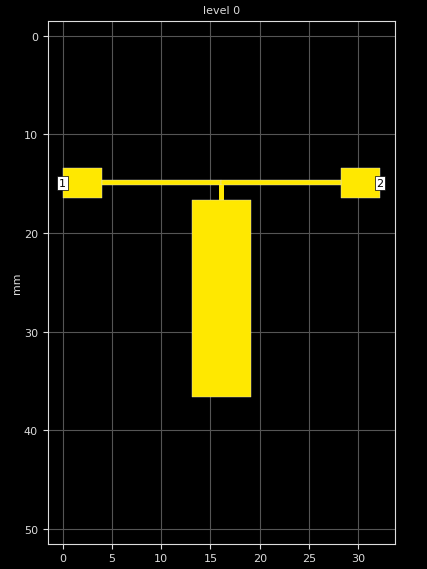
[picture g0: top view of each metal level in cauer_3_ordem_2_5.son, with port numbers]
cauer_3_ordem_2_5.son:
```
FTYP SONPROJ 13 ! Sonnet Project File
VER 15.53.lite
HEADER
LIC SL290709.106431 847bebfebdba DESKTOP-1CMJ3DP Arihe
DAT 05/13/2019 01:29:03
BUILT_BY_CREATED xgeom 15.53-Lite 04/13/2019 20:59:13
BUILT_BY_SAVED xgeom 15.53-Lite
MDATE 05/13/2019 01:24:35
HDATE 05/13/2019 01:24:35
END HEADER
DIM
FREQ GHZ
RSVY OHMM
IND NH
LNG MM
ANG DEG
CON /OH
CAP PF
RES OH
END DIM
FREQ
ABS 1.0e-9 3.0 
END FREQ
CONTROL
ABS
OPTIONS  -dj 
SPEED 0
CACHE_ABS 1
TARG_ABS 300
Q_ACC N
END CONTROL
GEO
DRP1 LEFT LINK
POLY 12 1
1
DRP1 RIGHT LINK
POLY 14 1
0
TMET "Lossless" 0 SUP 0 0 0 0
BMET "Lossless" 0 SUP 0 0 0 0
MET "Copper" 1 NOR 58000000 0 0.0347 
BOX 1 32.2 50 644 1000 20 0
      20 1 1 0 0 0 0 "Air"
      1.5306 4.1 1 0.02 0 0 0 "FR-4"
LORGN 0 50 U 
POR1 STD
POLY 12 1
3
1 50 0 0 0 2.500001983e-009 14.925 
POR1 STD
POLY 14 1
1
2 50 0 0 0 32.2 14.925 
NUM 6
0 5 0 N 12 1 1 100 100 0 0 0 Y
2.500001983e-009 13.375
4.000000003 13.375
4.000000003 16.475
2.500001983e-009 16.475
2.500001983e-009 13.375
END
0 5 0 N 14 1 1 100 100 0 0 0 Y
28.2 13.375
32.2 13.375
32.2 16.475
28.2 16.475
28.2 13.375
END
0 5 0 N 16 1 1 100 100 0 0 0 Y
3.999999725 14.675
16.09999973 14.675
16.09999973 15.175
3.999999725 15.175
3.999999725 14.675
END
0 5 0 N 17 1 1 100 100 0 0 0 Y
16.09999973 14.675
28.19999973 14.675
28.19999973 15.175
16.09999973 15.175
16.09999973 14.675
END
0 5 0 N 18 1 1 100 100 0 0 0 Y
15.85000036 15.125
16.35000036 15.125
16.35000036 16.625
15.85000036 16.625
15.85000036 15.125
END
0 5 0 N 19 1 1 100 100 0 0 0 Y
13.10000036 16.625
19.10000036 16.625
19.10000036 36.625
13.10000036 36.625
13.10000036 16.625
END
END GEO
OPT
MAX 100
VARS
END
END OPT
VARSWP
END VARSWP
QSG
IMPORT NO
EXTRA_METAL NO
UNITS YES
ALIGN NO
REF NO
VIEW_RES NO
METALS YES
USED YES
END QSG
```
